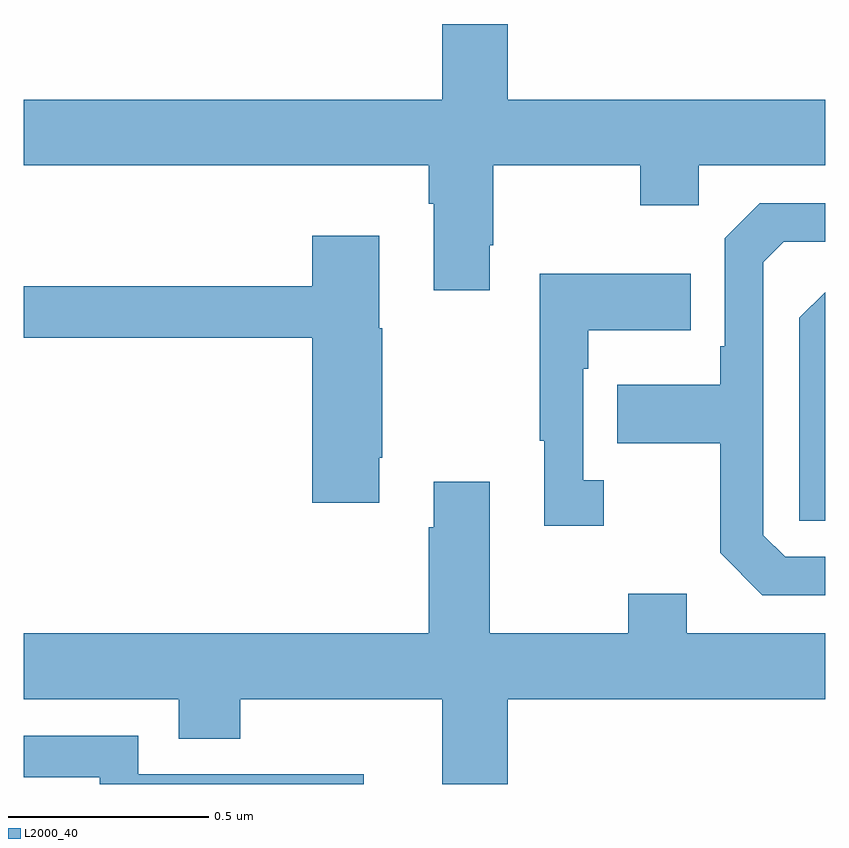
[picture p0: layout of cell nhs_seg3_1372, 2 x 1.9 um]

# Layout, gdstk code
import gdstk
lib = gdstk.Library(unit=1e-6, precision=1e-09)
def P(c, l, *ps):  # polygons
    for p in ps: c.add(gdstk.Polygon(p, *l))
L2000_40 = (2000, 40)

nhs_seg3_1372 = lib.new_cell('nhs_seg3_1372')
P(nhs_seg3_1372, L2000_40, [(129.163,672.745),(129.171,672.745),(129.171,672.944),(129.538,672.944),(129.538,672.845),(129.684,672.845),(129.684,672.944),(130,672.944),(130,673.108),(129.208,673.108),(129.208,673.297),(129.044,673.297),(129.044,673.108),(128,673.108),(128,672.944),(129.011,672.944),(129.011,672.848),(129.023,672.848),(129.023,672.633),(129.163,672.633)],
  [(130,671.967),(129.9,671.967),(129.846,672.021),(129.846,672.702),(129.897,672.753),(130,672.753),(130,672.849),(129.837,672.849),(129.75,672.762),(129.75,672.493),(129.738,672.493),(129.738,672.397),(129.481,672.397),(129.481,672.25),(129.738,672.25),(129.738,671.977),(129.843,671.871),(130,671.871)],
  [(128.887,672.214),(128.895,672.214),(128.895,672.537),(128.887,672.537),(128.887,672.769),(128.72,672.769),(128.72,672.643),(128,672.643),(128,672.514),(128.72,672.514),(128.72,672.102),(128.887,672.102)],
  [(129.448,672.158),(129.396,672.158),(129.396,672.437),(129.409,672.437),(129.409,672.533),(129.665,672.533),(129.665,672.673),(129.288,672.673),(129.288,672.257),(129.299,672.257),(129.299,672.045),(129.448,672.045)],
  [(130,672.628),(129.936,672.564),(129.936,672.057),(130,672.057)],
  [(129.208,671.612),(130,671.612),(130,671.776),(129.655,671.776),(129.655,671.875),(129.508,671.875),(129.508,671.776),(129.163,671.776),(129.163,672.154),(129.023,672.154),(129.023,672.041),(129.011,672.041),(129.011,671.776),(128,671.776),(128,671.612),(128.387,671.612),(128.387,671.513),(128.54,671.513),(128.54,671.612),(129.044,671.612),(129.044,671.4),(129.208,671.4)],
  [(128.848,671.424),(128.286,671.424),(128.286,671.521),(128,671.521),(128,671.417),(128.19,671.417),(128.19,671.4),(128.848,671.4)])

lib.write_gds('nhs_seg3_1372.gds')
